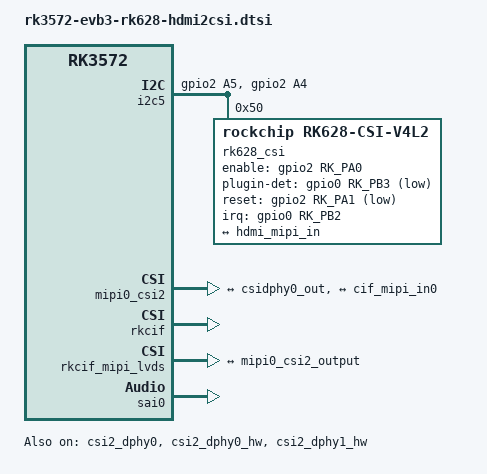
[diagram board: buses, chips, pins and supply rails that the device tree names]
// SPDX-License-Identifier: (GPL-2.0+ OR MIT)
/*
 * Copyright (c) 2026 Rockchip Electronics Co., Ltd.
 */

/ {
	hdmiin_sound: hdmiin-sound {
		status = "okay";
		compatible = "rockchip,hdmi";
		rockchip,bitclock-master = <&rk628_csi>;
		rockchip,card-name = "rockchip,rk628hdmiin";
		rockchip,codec = <&rk628_csi>;
		rockchip,cpu = <&sai0>;
		rockchip,frame-master = <&rk628_csi>;
		rockchip,jack-det;
		rockchip,mclk-fs = <128>;
	};

	/* Dummy Codec for HDMI Audio */
	rk628_dc: rk628-dc {
		compatible = "rockchip,dummy-codec";
		#sound-dai-cells = <0>;
	};

	rkvtunnel: rkvtunnel {
		status = "okay";
		compatible = "rockchip,video-tunnel";
	};
};

/* MIPI CSI-2 DPHY 0 */
&csi2_dphy0 {
	status = "okay";

	ports {
		#address-cells = <1>;
		#size-cells = <0>;

		port@0 {
			reg = <0>;
			#address-cells = <1>;
			#size-cells = <0>;

			hdmi_mipi_in: endpoint@1 {
				reg = <1>;
				data-lanes = <1 2 3 4>;
				remote-endpoint = <&hdmiin_out>;
			};
		};

		port@1 {
			reg = <1>;
			#address-cells = <1>;
			#size-cells = <0>;

			csidphy0_out: endpoint@0 {
				reg = <0>;
				remote-endpoint = <&mipi0_csi2_input>;
			};
		};
	};
};

&csi2_dphy0_hw {
	status = "okay";
};

&csi2_dphy1_hw {
	status = "okay";
};

/* I2C5 Controller - Connected to RK628 */
&i2c5 {
	status = "okay";
	pinctrl-names = "default";
	pinctrl-0 = <&i2c5m0_xfer_pins>;

	/* RK628 HDMI-to-CSI Bridge */
	rk628_csi: rk628_csi@50 {
		status = "okay";
		reg = <0x50>;
		compatible = "rockchip,rk628-csi-v4l2";
		cec-enable;
		continues-clk = <1>;
		/* Enable GPIO: Active High */
		enable-gpios = <&gpio2 RK_PA0 GPIO_ACTIVE_HIGH>;
		/* Interrupts & Pinctrl */
		interrupt-parent = <&gpio0>;
		interrupts = <RK_PB2 IRQ_TYPE_LEVEL_HIGH>;
		pinctrl-names = "default";
		pinctrl-0 = <&rk628_pin>;
		/* Plugin Detection */
		plugin-det-gpios = <&gpio0 RK_PB3 GPIO_ACTIVE_LOW>;
		/* Power & Reset */
		power-domains = <&power RK3572_PD_VI>;
		/* Reset GPIO: Active Low (Fixed) */
		reset-gpios = <&gpio2 RK_PA1 GPIO_ACTIVE_LOW>;

		/* Audio */
		#sound-dai-cells = <0>;

		/* Camera Module Info */
		rockchip,camera-module-facing = "back";
		rockchip,camera-module-index = <0>;
		rockchip,camera-module-lens-name = "RK628-CSI";
		rockchip,camera-module-name = "HDMI-MIPI";

		multi-dev-info {
			combine-idx = <0>;
			dev-idx-l = <0>;
			dev-idx-r = <2>;
			dev-num = <2>;
			pixel-offset = <0>;
		};

		port {
			hdmiin_out: endpoint {
				data-lanes = <1 2 3 4>;
				remote-endpoint = <&hdmi_mipi_in>;
			};
		};
	};
};

/* MIPI CSI-2 Controller */
&mipi0_csi2 {
	status = "okay";

	ports {
		#address-cells = <1>;
		#size-cells = <0>;

		port@0 {
			reg = <0>;
			#address-cells = <1>;
			#size-cells = <0>;

			mipi0_csi2_input: endpoint@1 {
				reg = <1>;
				remote-endpoint = <&csidphy0_out>;
			};
		};

		port@1 {
			reg = <1>;
			#address-cells = <1>;
			#size-cells = <0>;

			mipi0_csi2_output: endpoint@0 {
				reg = <0>;
				remote-endpoint = <&cif_mipi_in0>;
			};
		};
	};
};

/* Pin Control */
&pinctrl {
	hdmiin {
		rk628_pin: rk628-pin {
			rockchip,pins = <0 RK_PB2 RK_FUNC_GPIO &pcfg_pull_none>,
				 <0 RK_PB3 RK_FUNC_GPIO &pcfg_pull_none>,
				 <2 RK_PA0 RK_FUNC_GPIO &pcfg_pull_none>,
				 <2 RK_PA1 RK_FUNC_GPIO &pcfg_pull_none>;
		};
	};

	i2c5 {
		/omit-if-no-ref/
		i2c5m0_xfer_pins: i2c5m0-xfer-pins {
			rockchip,pins =
				/* i2c5_scl_m0 */
				<2 RK_PA5 11 &pcfg_pull_up_smt>,
				/* i2c5_sda_m0 */
				<2 RK_PA4 11 &pcfg_pull_up_smt>;
		};
	};
};

/* ISP / VICAP Pipeline */
&rkcif {
	status = "okay";
};

&rkcif_mipi_lvds {
	status = "okay";

	port {
		cif_mipi_in0: endpoint {
			remote-endpoint = <&mipi0_csi2_output>;
		};
	};
};

&rkcif_mmu {
	status = "okay";
};

/* Audio SAI0 */
&sai0 {
	status = "okay";
	pinctrl-names = "default";
	pinctrl-0 = <&sai0m1_lrck_pins
		     &sai0m1_sclk_pins
		     &sai0m1_sdi0_pins>;
};
